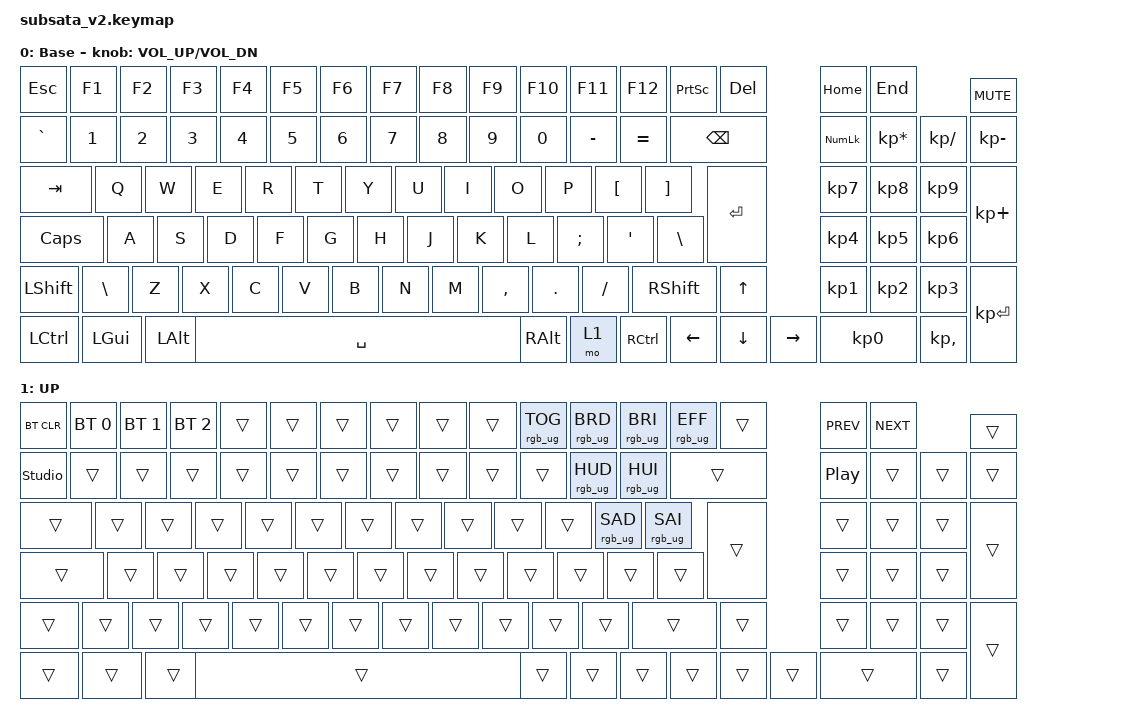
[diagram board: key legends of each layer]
#include <behaviors.dtsi>
#include <dt-bindings/zmk/keys.h>
#include <dt-bindings/zmk/bt.h>
#include <dt-bindings/zmk/rgb.h>

/ {
    behaviors {
        td: td {
            compatible = "zmk,behavior-tap-dance";
            #binding-cells = <0>;
            tapping-term-ms = <200>;
            bindings = <&kp A>, <&kp ESC>, <&kp RET>;
        };

        ht: ht {
            compatible = "zmk,behavior-hold-tap";
            #binding-cells = <2>;
            flavor = "balanced";
            tapping-term-ms = <360>;
            bindings = <&kp>, <&kp>;
        };

        mm: mm {
            compatible = "zmk,behavior-mod-morph";
            #binding-cells = <0>;
            mods = <(MOD_LSFT|MOD_RSFT)>;
            bindings = <&kp COMMA>, <&kp SEMI>;
        };

        rot: rot {
            compatible = "zmk,behavior-sensor-rotate";
            #sensor-binding-cells = <0>;
            bindings = <&kp C_VOL_UP>, <&kp C_VOL_DN>;
        };
    };

    macros {
        macro: macro {
            compatible = "zmk,behavior-macro";
            #binding-cells = <0>;
            bindings = <&kp A>;
        };
    };

    keymap {
        compatible = "zmk,keymap";

        default_layer {
            display-name = "Base";
            // | ESC   | F1   | F2 |     | F3 | F4 | F5 |   | F6  | F7 | F8 |   | F9 | F10   | F11 | F12  | PSCRN | DEL   |       | HOME   | END         |          | C_MUTE   |
            // | `     | 1    | 2  |     | 3  | 4  | 5  |   | 6   | 7  | 8  |   | 9  | 0     | -   | =    |       | BSPC  |       | KP_NUM | KP_MULTIPLY | KP_SLASH | KP_MINUS |
            // | TAB   |      | Q  | W   | E  |    | R  | T | Y   |    | U  | I | O  |       | P   | [    | ]     | ENTER |       | KP_N7  | KP_N8       | KP_N9    | KP_PLUS  |
            // | CAPS  |      | A  | S   |    | D  | F  | G |     | H  | J  | K |    | L     | ;   | '    | BSLH  |               | KP_N4  | KP_N5       | KP_N6    |
            // | SHIFT | BSLH |    | Z   | X  | C  |    | V | B   | N  |    | M | ,  | .     |     | FSLH | SHIFT | UP    |       | KP_N1  | KP_N2       | KP_N3    | KP_ENTER |
            // | CTRL  | GUI  |    | ALT |                  | SPC |                  | ALTGR | UP  | CTRL | LEFT  | DOWN  |       | KP_N0  |             | KP_COMMA |
            //                                                                                                            | RIGHT |
            bindings = <
                &kp ESC    &kp F1    &kp F2            &kp F3  &kp F4  &kp F5         &kp F6     &kp F7  &kp F8         &kp F9     &kp F10   &kp F11    &kp F12    &kp PSCRN  &kp DEL              &kp HOME    &kp END                        &kp C_MUTE
                &kp GRAVE  &kp N1    &kp N2            &kp N3  &kp N4  &kp N5         &kp N6     &kp N7  &kp N8         &kp N9     &kp N0    &kp MINUS  &kp EQUAL             &kp BSPC             &kp KP_NUM  &kp KP_MULTIPLY  &kp KP_SLASH  &kp KP_MINUS
                &kp TAB              &kp Q   &kp W     &kp E           &kp R   &kp T  &kp Y              &kp U   &kp I  &kp O                &kp P      &kp LBKT   &kp RBKT   &kp RET              &kp KP_N7   &kp KP_N8        &kp KP_N9     &kp KP_PLUS
                &kp CAPS             &kp A   &kp S             &kp D   &kp F   &kp G             &kp H   &kp J   &kp K             &kp L     &kp SEMI   &kp SQT    &kp BSLH                        &kp KP_N4   &kp KP_N5        &kp KP_N6
                &kp LSHFT  &kp BSLH          &kp Z     &kp X   &kp C           &kp V  &kp B      &kp N           &kp M  &kp COMMA  &kp DOT              &kp FSLH   &kp RSHFT  &kp UP               &kp KP_N1   &kp KP_N2        &kp KP_N3     &kp KP_ENTER
                &kp LCTRL  &kp LGUI          &kp LALT                                 &kp SPACE                                    &kp RALT  &mo 1      &kp RCTRL  &kp LEFT   &kp DOWN             &kp KP_N0                    &kp KP_COMMA
                                                                                                                                                                                        &kp RIGHT
            >;

            sensor-bindings = <&inc_dec_kp C_VOL_UP C_VOL_DN>;
        };

        up {
            display-name = "UP";
            // | BTCLR         | BT1 | BT2 |   | BT3 |   |   |   |   |   |   |   |   | RGB_UG RGB_TOG | RGB_UG RGB_BRD | RGB_UG RGB_BRI | RGB_UG RGB_EFF |   |   | PREV | NEXT |   |   |
            // | STUDIO_UNLOCK |     |     |   |     |   |   |   |   |   |   |   |   |                | RGB_UG RGB_HUD | RGB_UG RGB_HUI |                |   |   | PLAY |      |   |   |
            // |               |     |     |   |     |   |   |   |   |   |   |   |   |                |                | RGB_UG RGB_SAD | RGB_UG RGB_SAI |   |   |      |      |   |   |
            // |               |     |     |   |     |   |   |   |   |   |   |   |   |                |                |                |                |       |      |      |   |
            // |               |     |     |   |     |   |   |   |   |   |   |   |   |                |                |                |                |   |   |      |      |   |   |
            // |               |     |     |   |                 |   |               |                |                |                |                |   |   |      |      |   |
            //                                                                                                                                               |   |
            bindings = <
                &bt BT_CLR      &bt BT_SEL 0  &bt BT_SEL 1          &bt BT_SEL 2  &trans  &trans          &trans  &trans  &trans          &trans  &rgb_ug RGB_TOG  &rgb_ug RGB_BRD  &rgb_ug RGB_BRI  &rgb_ug RGB_EFF  &trans          &kp C_PREV  &kp C_NEXT          &trans
                &studio_unlock  &trans        &trans                &trans        &trans  &trans          &trans  &trans  &trans          &trans  &trans           &rgb_ug RGB_HUD  &rgb_ug RGB_HUI                   &trans          &kp C_PP    &trans      &trans  &trans
                &trans                        &trans        &trans  &trans                &trans  &trans  &trans          &trans  &trans  &trans                   &trans           &rgb_ug RGB_SAD  &rgb_ug RGB_SAI  &trans          &trans      &trans      &trans  &trans
                &trans                        &trans        &trans                &trans  &trans  &trans          &trans  &trans  &trans          &trans           &trans           &trans           &trans                           &trans      &trans      &trans
                &trans          &trans                      &trans  &trans        &trans          &trans  &trans  &trans          &trans  &trans  &trans                            &trans           &trans           &trans          &trans      &trans      &trans  &trans
                &trans          &trans                      &trans                                        &trans                                  &trans           &trans           &trans           &trans           &trans          &trans                  &trans
                                                                                                                                                                                                                              &trans
            >;
        };

        extra_1 {
            status = "reserved";
        };

        extra_2 {
            status = "reserved";
        };
    };
};
